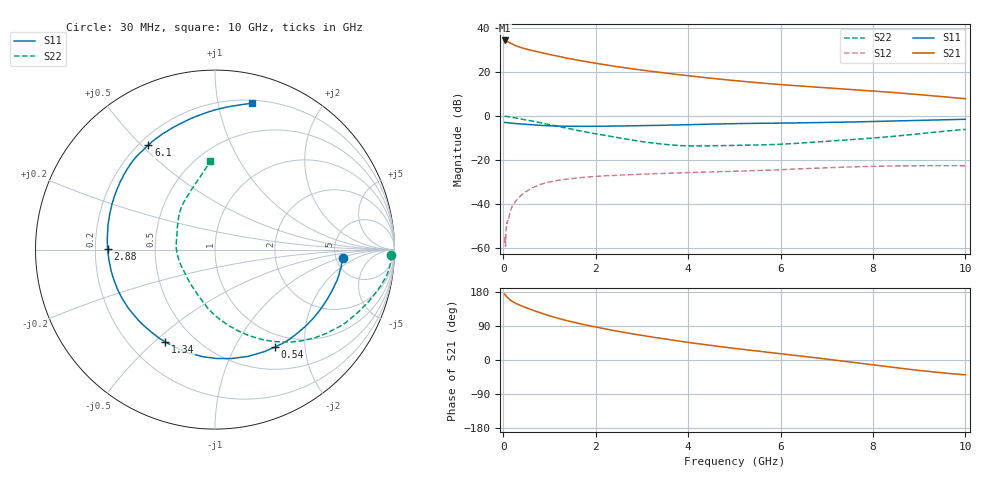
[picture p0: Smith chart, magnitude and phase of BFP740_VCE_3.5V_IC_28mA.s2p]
! Infineon Technologies  Discrete & RF Semiconductors
! BFP740
! VCE =  3.5 V,  IC =  28 mA
! Common Emitter S-Parameters:  Jan 2016
# GHz  S  MA  R  50
!  f  S11  S21  S12  S22
! GHz  MAG  ANG  MAG  ANG  MAG  ANG  MAG  ANG
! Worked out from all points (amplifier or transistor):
!   229 points, 30 MHz to 10 GHz, reference 50 ohm
!   highest |S21| = 34.3 dB at 30 MHz (marker M1)
!   |S21| within 3 dB of that: start of sweep to 352 MHz
!   unconditionally stable (mu >= 1): 6.18 GHz to 6.285 GHz; 6.307 GHz to 8.538 GHz; 8.614 GHz to 9.874 GHz
!   at 280 MHz: K = 0.29, MSG = 35.2 dB, |S12| = -38.5 dB
!   at 1.78 GHz: K = 0.49, MSG = 26.3 dB, |S12| = -27.8 dB
!   at 10 GHz: K = 0.99, MSG = 15.2 dB, |S12| = -22.6 dB
!   S11 on the Smith chart (normalised r, x): 30 MHz: 5.77, -1.08; 540 MHz: 0.81, -1.47; 1.34 GHz: 0.35, -0.54; 2.88 GHz: 0.25, +0.00; 6.1 GHz: 0.23, +0.53; 10 GHz: 0.23, +1.26
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0.03  0.7134 -3.7  52.03 174.1  0.0013 73.1  0.9804 -1.8
0.08  0.705 -10.2  49.86 166.4  0.0038 74.8  0.9744 -6.6
0.11  0.702 -13.9  47.97 162.6  0.0048 82.5  0.9642 -9.2
0.15  0.693 -18.7  45.53 158.3  0.0067 81.0  0.9467 -12.1
0.195  0.684 -23.6  43.03 154.5  0.0089 77.0  0.9268 -15.1
0.26  0.6738 -30.6  40.05 150.1  0.0112 74.2  0.9012 -19.0
0.34  0.6623 -39.0  37.19 145.7  0.014 71.1  0.8711 -23.5
0.54  0.6368 -58.4  32.35 136.1  0.0206 63.3  0.7981 -33.9
0.7  0.6227 -72.9  29.46 128.8  0.0251 56.9  0.7405 -41.7
0.9  0.6068 -89.3  26.43 120.5  0.0299 50.7  0.6681 -50.4
1.12  0.5923 -105.1  23.52 112.3  0.0334 44.7  0.5951 -58.8
1.34  0.5839 -118.6  21.05 105.1  0.0365 40.2  0.533 -66.1
1.7  0.5807 -137.3  17.86 94.6  0.04 34.2  0.4488 -76.9
2.26  0.5867 -160.4  14.24 80.6  0.044 27.8  0.3525 -92.5
2.88  0.5984 179.6  11.47 67.3  0.0471 23.2  0.2736 -109.6
3.4  0.6131 165.7  9.758 57.3  0.0493 20.1  0.2324 -126.9
4.3  0.6447 146.1  7.586 41.5  0.0528 15.1  0.2089 -159.4
5.1  0.6717 133.6  6.229 29.2  0.0556 12.2  0.2157 178.2
6.1  0.6918 122.4  5.078 15.2  0.0608 9.2  0.2305 156.8
6.8  0.708 114.2  4.509 5.3  0.0652 5.4  0.2556 143.9
8.4  0.7685 92.6  3.445 -18.9  0.0732 -5.9  0.3411 115.7
10  0.8418 75.7  2.468 -39.2  0.0739 -15.8  0.4949 93.2
